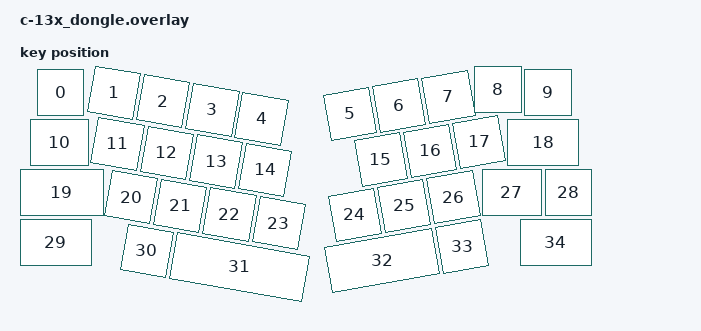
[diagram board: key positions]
#include <dt-bindings/zmk/matrix_transform.h>

#include "c-13x.overlay"

#include <physical_layouts.dtsi>

/ {
    physical_layout_0: physical_layout_0 {
        compatible = "zmk,physical-layout";
        display-name = "Default";

        kscan = <&kscan0>; 
        transform = <&default_transform>; 

        keys  //                     w   h    x    y     rot    rx    ry
            /* Ряд 0 */
            = <&key_physical_attrs 100 100  135    0       0     0     0>
            , <&key_physical_attrs 100 100  115   30    1000   398   790>
            , <&key_physical_attrs 100 100  215   30    1000   398   790>
            , <&key_physical_attrs 100 100  315   30    1000   398   790>
            , <&key_physical_attrs 100 100  415   30    1000   398   790>
            , <&key_physical_attrs 100 100  840   -5 (-1000)  1102   790>
            , <&key_physical_attrs 100 100  940   -5 (-1000)  1102   790>
            , <&key_physical_attrs 100 100 1040   -5 (-1000)  1102   790>
            , <&key_physical_attrs 100 100 1010   -5       0     0     0>
            , <&key_physical_attrs 100 100 1110    0       0     0     0>

            /* Ряд 1 */
            , <&key_physical_attrs 125 100  120  100       0     0     0>
            , <&key_physical_attrs 100 100  140  130    1000   398   790>
            , <&key_physical_attrs 100 100  240  130    1000   398   790>
            , <&key_physical_attrs 100 100  340  130    1000   398   790>
            , <&key_physical_attrs 100 100  440  130    1000   398   790>
            , <&key_physical_attrs 100 100  885   95 (-1000)  1102   790>
            , <&key_physical_attrs 100 100  985   95 (-1000)  1102   790>
            , <&key_physical_attrs 100 100 1085   95 (-1000)  1102   790>
            , <&key_physical_attrs 150 100 1075  100       0     0     0>

            /* Ряд 2 */
            , <&key_physical_attrs 175 100  100  200       0     0     0>
            , <&key_physical_attrs 100 100  185  230    1000   398   790>
            , <&key_physical_attrs 100 100  285  230    1000   398   790>
            , <&key_physical_attrs 100 100  385  230    1000   398   790>
            , <&key_physical_attrs 100 100  485  230    1000   398   790>
            , <&key_physical_attrs 100 100  815  195 (-1000)  1102   790>
            , <&key_physical_attrs 100 100  915  195 (-1000)  1102   790>
            , <&key_physical_attrs 100 100 1015  195 (-1000)  1102   790>
            , <&key_physical_attrs 125 100 1025  200       0     0     0>
            , <&key_physical_attrs 100 100 1150  200       0     0     0>

            /* Ряд 3 */
            , <&key_physical_attrs 150 100  100  300       0     0     0>
            , <&key_physical_attrs 100 100  235  330    1000   398   790>
            , <&key_physical_attrs 275 100  335  330    1000   398   790>
            , <&key_physical_attrs 225 100  790  295 (-1000)  1102   790>
            , <&key_physical_attrs 100 100 1015  295 (-1000)  1102   790>
            , <&key_physical_attrs 150 100 1100  300       0     0     0>
            ;
    };
};
